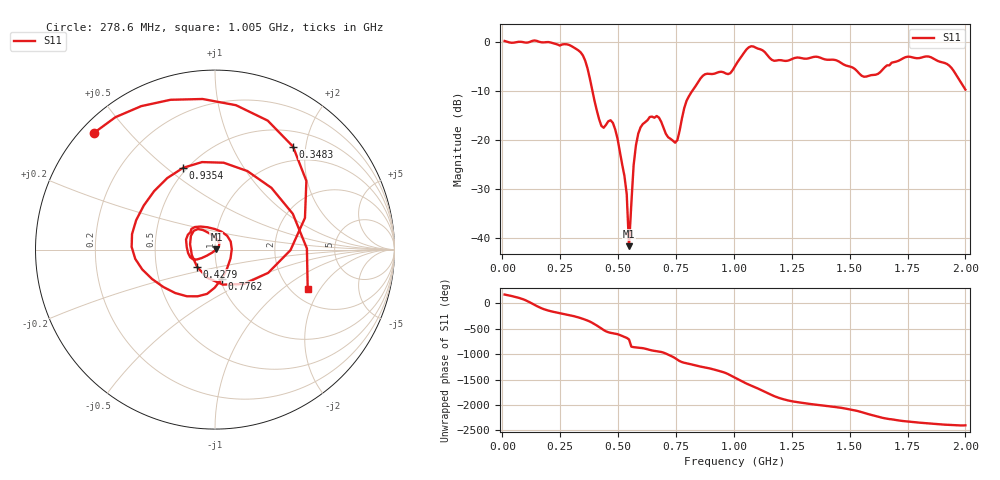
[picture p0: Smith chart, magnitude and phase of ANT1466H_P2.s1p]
!Created with skrf (http://scikit-rf.org).
# Hz S RI R 50.0
!freq ReS11 ImS11
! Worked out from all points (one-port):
!   201 points, 10 MHz to 2 GHz, reference 50 ohm
!   lowest |S11| = -41.6 dB at 547.3 MHz (marker M1), VSWR 1.02, Z = 50.8 + j0.123 ohm
!   |S11| at or under -10 dB: 389 MHz to 821.2 MHz (432.2 MHz wide, 71.4 % of centre)
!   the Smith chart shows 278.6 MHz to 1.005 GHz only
!   S11 on the Smith chart (normalised r, x): 278.6 MHz: 0.04, +0.40; 348.3 MHz: 0.74, +1.77; 427.9 MHz: 0.81, -0.16; 776.1 MHz: 1.02, -0.34; 935.4 MHz: 0.48, +0.57; 1.005 GHz: 2.43, -1.56
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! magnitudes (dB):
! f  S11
! 10 MHz  0.1
! 258.8 MHz  -0.6
! 278.6 MHz  -0.6
! 348.3 MHz  -2.9
! 427.9 MHz  -17.2
! 477.6 MHz  -16.5
! 507.5 MHz  -22.3
! 537.4 MHz  -31.0
! 547.3 MHz  -41.6
! 567.2 MHz  -25.2
! 577.1 MHz  -21.1
! 597 MHz  -17.5
! 666.7 MHz  -15.1
! 716.5 MHz  -19.5
! 756.2 MHz  -20.0
! 776.1 MHz  -15.6
! 796 MHz  -12.0
! 855.8 MHz  -7.5
! 935.4 MHz  -6.2
! 1.005 GHz  -5.0
! 1.075 GHz  -1.0
! 1.174 GHz  -3.9
! 1.254 GHz  -3.5
! 1.502 GHz  -5.1
! 1.572 GHz  -7.1
! 1.751 GHz  -3.1
! 1.92 GHz  -4.6
! 2 GHz  -9.8
